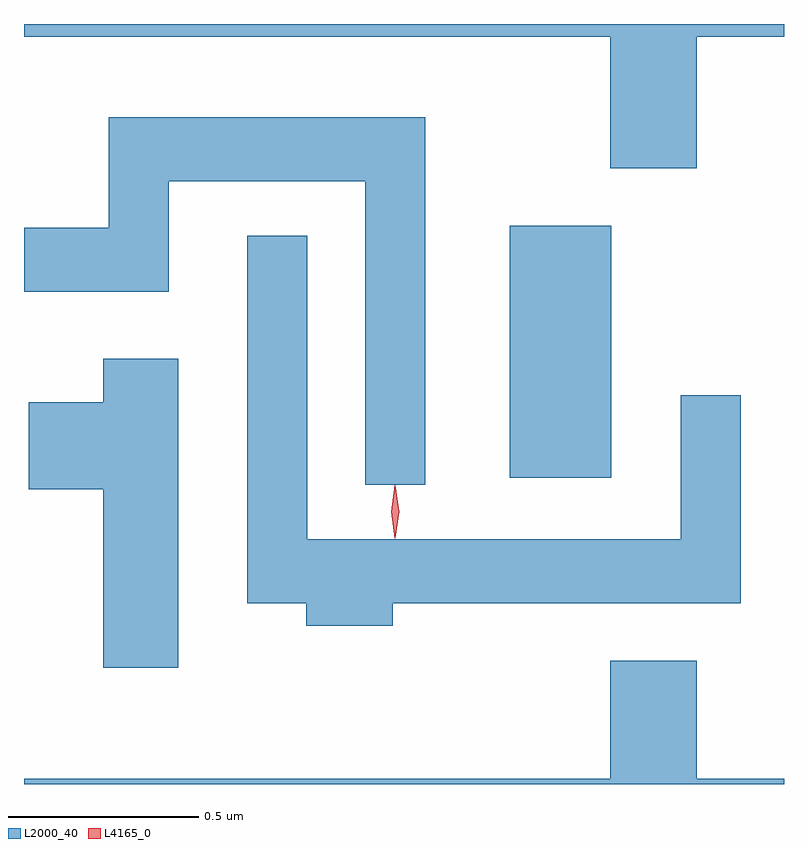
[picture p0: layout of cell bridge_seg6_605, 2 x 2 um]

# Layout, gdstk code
import gdstk
lib = gdstk.Library(unit=1e-6, precision=1e-09)
def R(c, l, rs):  # rectangles x0, y0, x1, y1
    for r in rs: c.add(gdstk.rectangle(r[:2], r[2:], *l))
def P(c, l, *ps):  # polygons
    for p in ps: c.add(gdstk.Polygon(p, *l))
L2000_40 = (2000, 40)
L4165_0 = (4165, 0)

bridge_seg6_605 = lib.new_cell('bridge_seg6_605')
R(bridge_seg6_605, L2000_40, [(489.056,1606.596,489.324,1607.259)])
P(bridge_seg6_605, L2000_40, [(489.549,1607.756),(489.778,1607.756),(489.778,1607.79),(487.778,1607.79),(487.778,1607.756),(489.321,1607.756),(489.321,1607.411),(489.549,1607.411)],
  [(488.834,1607.544),(488.001,1607.544),(488.001,1607.254),(487.778,1607.254),(487.778,1607.086),(488.159,1607.086),(488.159,1607.376),(488.676,1607.376),(488.676,1606.578),(488.834,1606.578)],
  [(488.749,1606.266),(489.664,1606.266),(489.664,1606.813),(489.506,1606.813),(489.506,1606.434),(488.524,1606.434),(488.524,1607.233),(488.366,1607.233),(488.366,1606.266),(488.521,1606.266),(488.521,1606.206),(488.749,1606.206)],
  [(488.184,1606.909),(487.986,1606.909),(487.986,1606.794),(487.791,1606.794),(487.791,1606.566),(487.986,1606.566),(487.986,1606.096),(488.184,1606.096)],
  [(489.778,1605.804),(489.549,1605.804),(489.549,1606.114),(489.321,1606.114),(489.321,1605.804),(487.778,1605.804),(487.778,1605.79),(489.778,1605.79)])
P(bridge_seg6_605, L4165_0, [(488.754,1606.437),(488.745,1606.507),(488.754,1606.576),(488.755,1606.576),(488.755,1606.576),(488.765,1606.507),(488.755,1606.437),(488.755,1606.437)],
  [(488.755,1606.439),(488.754,1606.44),(488.745,1606.506),(488.754,1606.572),(488.755,1606.573),(488.755,1606.572),(488.765,1606.506),(488.755,1606.44)])

lib.write_gds('bridge_seg6_605.gds')
